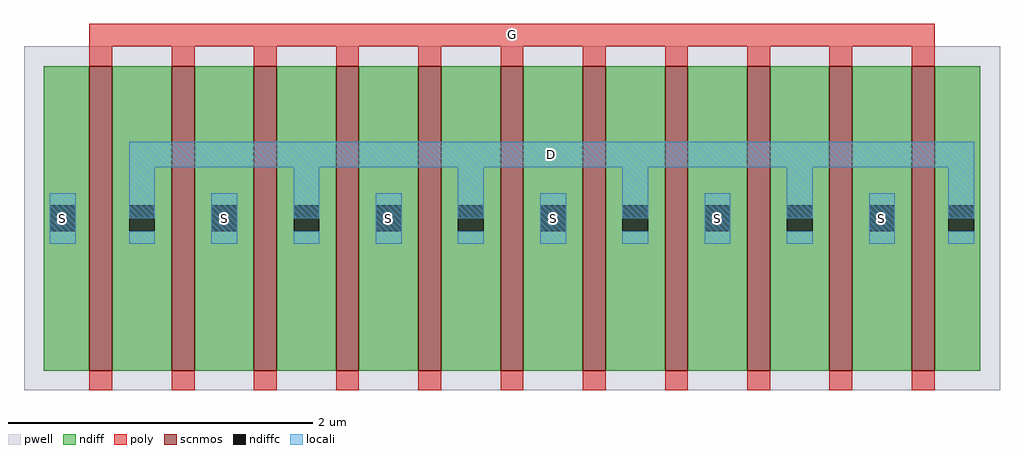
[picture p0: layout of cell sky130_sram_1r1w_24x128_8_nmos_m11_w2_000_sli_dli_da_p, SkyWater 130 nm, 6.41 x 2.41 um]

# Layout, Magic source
magic
tech sky130B
magscale 1 2
<< pwell >>
rect -26 -26 1256 426
<< scnmos >>
rect 60 0 90 400
rect 168 0 198 400
rect 276 0 306 400
rect 384 0 414 400
rect 492 0 522 400
rect 600 0 630 400
rect 708 0 738 400
rect 816 0 846 400
rect 924 0 954 400
rect 1032 0 1062 400
rect 1140 0 1170 400
<< ndiff >>
rect 0 0 60 400
rect 90 0 168 400
rect 198 0 276 400
rect 306 0 384 400
rect 414 0 492 400
rect 522 0 600 400
rect 630 0 708 400
rect 738 0 816 400
rect 846 0 924 400
rect 954 0 1032 400
rect 1062 0 1140 400
rect 1170 0 1230 400
<< poly >>
rect 60 426 1170 456
rect 60 400 90 426
rect 168 400 198 426
rect 276 400 306 426
rect 384 400 414 426
rect 492 400 522 426
rect 600 400 630 426
rect 708 400 738 426
rect 816 400 846 426
rect 924 400 954 426
rect 1032 400 1062 426
rect 1140 400 1170 426
rect 60 -26 90 0
rect 168 -26 198 0
rect 276 -26 306 0
rect 384 -26 414 0
rect 492 -26 522 0
rect 600 -26 630 0
rect 708 -26 738 0
rect 816 -26 846 0
rect 924 -26 954 0
rect 1032 -26 1062 0
rect 1140 -26 1170 0
<< locali >>
rect 112 267 1222 301
rect 8 167 42 233
rect 112 200 146 267
rect 220 167 254 233
rect 328 200 362 267
rect 436 167 470 233
rect 544 200 578 267
rect 652 167 686 233
rect 760 200 794 267
rect 868 167 902 233
rect 976 200 1010 267
rect 1084 167 1118 233
rect 1188 200 1222 267
use sky130_sram_1r1w_24x128_8_contact_10  sky130_sram_1r1w_24x128_8_contact_10_0
transform 1 0 1180 0 1 167
box -26 -22 76 88
use sky130_sram_1r1w_24x128_8_contact_10  sky130_sram_1r1w_24x128_8_contact_10_1
transform 1 0 1076 0 1 167
box -26 -22 76 88
use sky130_sram_1r1w_24x128_8_contact_10  sky130_sram_1r1w_24x128_8_contact_10_2
transform 1 0 968 0 1 167
box -26 -22 76 88
use sky130_sram_1r1w_24x128_8_contact_10  sky130_sram_1r1w_24x128_8_contact_10_3
transform 1 0 860 0 1 167
box -26 -22 76 88
use sky130_sram_1r1w_24x128_8_contact_10  sky130_sram_1r1w_24x128_8_contact_10_4
transform 1 0 752 0 1 167
box -26 -22 76 88
use sky130_sram_1r1w_24x128_8_contact_10  sky130_sram_1r1w_24x128_8_contact_10_5
transform 1 0 644 0 1 167
box -26 -22 76 88
use sky130_sram_1r1w_24x128_8_contact_10  sky130_sram_1r1w_24x128_8_contact_10_6
transform 1 0 536 0 1 167
box -26 -22 76 88
use sky130_sram_1r1w_24x128_8_contact_10  sky130_sram_1r1w_24x128_8_contact_10_7
transform 1 0 428 0 1 167
box -26 -22 76 88
use sky130_sram_1r1w_24x128_8_contact_10  sky130_sram_1r1w_24x128_8_contact_10_8
transform 1 0 320 0 1 167
box -26 -22 76 88
use sky130_sram_1r1w_24x128_8_contact_10  sky130_sram_1r1w_24x128_8_contact_10_9
transform 1 0 212 0 1 167
box -26 -22 76 88
use sky130_sram_1r1w_24x128_8_contact_10  sky130_sram_1r1w_24x128_8_contact_10_10
transform 1 0 104 0 1 167
box -26 -22 76 88
use sky130_sram_1r1w_24x128_8_contact_10  sky130_sram_1r1w_24x128_8_contact_10_11
transform 1 0 0 0 1 167
box -26 -22 76 88
<< labels >>
rlabel poly s 615 441 615 441 4 G
port 1 nsew
rlabel locali s 885 200 885 200 4 S
port 2 nsew
rlabel locali s 237 200 237 200 4 S
port 2 nsew
rlabel locali s 669 200 669 200 4 S
port 2 nsew
rlabel locali s 1101 200 1101 200 4 S
port 2 nsew
rlabel locali s 25 200 25 200 4 S
port 2 nsew
rlabel locali s 453 200 453 200 4 S
port 2 nsew
rlabel locali s 667 284 667 284 4 D
port 3 nsew
<< properties >>
string FIXED_BBOX -25 -26 1255 456
<< end >>

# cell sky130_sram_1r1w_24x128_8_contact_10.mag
magic
tech sky130B
<< pwell >>
rect -13 -11 38 44
<< ndiff >>
rect 0 25 25 31
rect 0 8 4 25
rect 21 8 25 25
rect 0 2 25 8
<< ndiffc >>
rect 4 8 21 25
<< locali >>
rect 4 25 21 33
rect 4 0 21 8
<< properties >>
string FIXED_BBOX -12 -10 37 43
<< end >>
